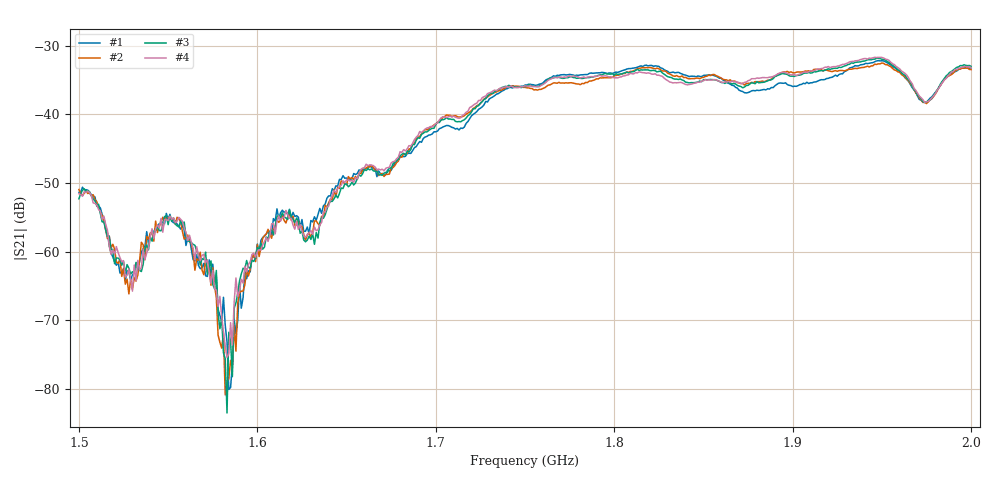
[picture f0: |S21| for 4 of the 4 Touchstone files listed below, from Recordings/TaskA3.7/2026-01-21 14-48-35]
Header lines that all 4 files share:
! NanoVNA-App by SYSJOINT et al v1.1.209 (+OD18)
! Start: 1,5GHz Stop: 2GHz Points: 501
! S-Parameter data: F S11 S21 S12 S22
# Hz S RI R 50
!  Frequency  S11_Real  S11_Imag  S21_Real  S21_Imag  S12_Real  S12_Imag  S22_Real  S22_Imag
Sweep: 1.5 GHz to 2 GHz
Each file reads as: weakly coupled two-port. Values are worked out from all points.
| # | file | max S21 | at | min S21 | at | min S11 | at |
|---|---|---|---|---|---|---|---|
| 1 | 0.s2p | -32.17 dB | 1.948 GHz | -80.1 dB | 1.584 GHz | -31.2 dB | 1.817 GHz |
| 2 | 1.s2p | -32.52 dB | 1.95 GHz | -80.9 dB | 1.582 GHz | -31.0 dB | 1.817 GHz |
| 3 | 2.s2p | -31.83 dB | 1.948 GHz | -83.5 dB | 1.583 GHz | -30.6 dB | 1.817 GHz |
| 4 | 3.s2p | -31.68 dB | 1.946 GHz | -75.4 dB | 1.583 GHz | -30.6 dB | 1.817 GHz |
